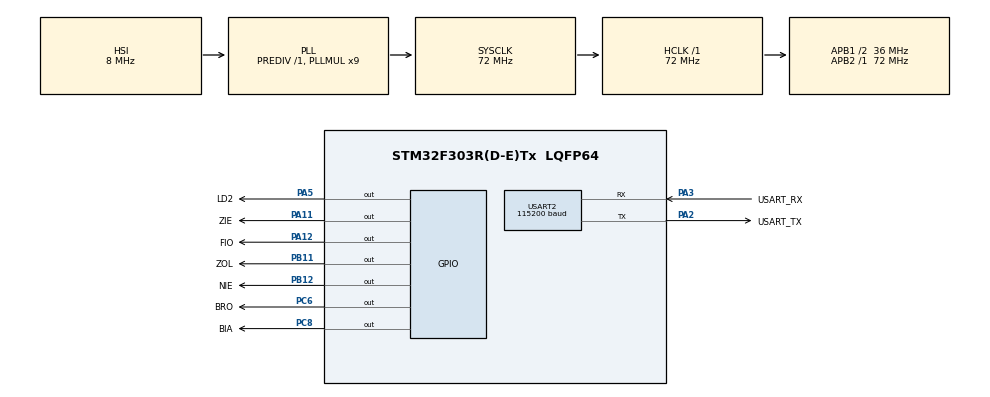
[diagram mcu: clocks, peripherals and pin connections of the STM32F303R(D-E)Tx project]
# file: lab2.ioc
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Mcu.Family=STM32F3
Mcu.Name=STM32F303R(D-E)Tx
Mcu.Package=LQFP64
NVIC.PriorityGroup=NVIC_PRIORITYGROUP_0
NVIC.RTC_WKUP_IRQn=true\:0\:0\:false\:false\:true\:true\:true
NVIC.USART2_IRQn=true\:0\:0\:false\:false\:true\:true\:true
PA11.GPIO_Label=ZIE
PA11.Signal=GPIO_Output
PA12.GPIO_Label=FIO
PA12.Signal=GPIO_Output
PA13.GPIO_Label=TMS
PA13.Mode=Serial_Wire
PA13.Signal=SYS_JTMS-SWDIO
PA14.GPIO_Label=TCK
PA14.Mode=Serial_Wire
PA14.Signal=SYS_JTCK-SWCLK
PA2.GPIO_Label=USART_TX
PA2.GPIO_Mode=GPIO_MODE_AF_PP
PA2.GPIO_PuPd=GPIO_NOPULL
PA2.GPIO_Speed=GPIO_SPEED_FREQ_LOW
PA2.Mode=Asynchronous
PA2.Signal=USART2_TX
PA3.GPIO_Label=USART_RX
PA3.GPIO_Mode=GPIO_MODE_AF_PP
PA3.GPIO_PuPd=GPIO_NOPULL
PA3.GPIO_Speed=GPIO_SPEED_FREQ_LOW
PA3.Mode=Asynchronous
PA3.Signal=USART2_RX
PA5.GPIO_Label=LD2
PA5.GPIO_Mode=GPIO_MODE_OUTPUT_PP
PA5.GPIO_PuPd=GPIO_NOPULL
PA5.GPIO_Speed=GPIO_SPEED_FREQ_LOW
PA5.Signal=GPIO_Output
PB11.GPIO_Label=ZOL
PB11.Signal=GPIO_Output
PB12.GPIO_Label=NIE
PB12.Signal=GPIO_Output
PB3.GPIO_Label=SWO
PB3.Signal=SYS_JTDO-TRACESWO
PC14-OSC32_IN.Mode=LSE-External-Oscillator
PC14-OSC32_IN.Signal=RCC_OSC32_IN
PC15-OSC32_OUT.Mode=LSE-External-Oscillator
PC15-OSC32_OUT.Signal=RCC_OSC32_OUT
PC6.GPIO_Label=BRO
PC6.Signal=GPIO_Output
PC8.GPIO_Label=BIA
PC8.Signal=GPIO_Output
PF0-OSC_IN.Mode=HSE-External-Clock-Source
PF0-OSC_IN.Signal=RCC_OSC_IN
PF1-OSC_OUT.Signal=RCC_OSC_OUT
ProjectManager.HeapSize=0x200
ProjectManager.StackSize=0x400
ProjectManager.TargetToolchain=STM32CubeIDE
RCC.AHBFreq_Value=72000000
RCC.APB1CLKDivider=RCC_HCLK_DIV2
RCC.APB1Freq_Value=36000000
RCC.APB1TimFreq_Value=72000000
RCC.APB2Freq_Value=72000000
RCC.APB2TimFreq_Value=72000000
RCC.CortexFreq_Value=72000000
RCC.HCLKFreq_Value=72000000
RCC.HSE_VALUE=8000000
RCC.HSI_VALUE=8000000
RCC.PLLM=8
RCC.PLLMUL=RCC_PLL_MUL9
RCC.PLLN=336
RCC.PLLP=RCC_PLLP_DIV4
RCC.PLLQ=7
RCC.RCC_PLLsource_Clock_Source_FROM_HSE=RCC_HSE_PREDIV_DIV2
RCC.SYSCLKFreq_VALUE=72000000
RCC.SYSCLKSourceVirtual=RCC_SYSCLKSOURCE_PLLCLK
RCC.USBFreq_Value=72000000
RTC.Date=21
RTC.Format=RTC_FORMAT_BIN
RTC.Hours=18
RTC.Minutes=20
RTC.Month=RTC_MONTH_OCTOBER
RTC.Seconds=10
RTC.WeekDay=RTC_WEEKDAY_THURSDAY
USART2.BaudRate=115200
USART2.VirtualMode-Asynchronous=VM_ASYNC
VP_RTC_VS_RTC_Activate.Mode=RTC_Enabled
VP_RTC_VS_RTC_Calendar.Mode=RTC_Calendar
VP_RTC_VS_RTC_WakeUp_intern.Mode=WakeUp
board=NUCLEO-F303RE

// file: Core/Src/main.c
/* USER CODE BEGIN Header */
/**
  ******************************************************************************
  * @file           : main.c
  * @brief          : Main program body
  ******************************************************************************
  * @attention
  *
  * <h2><center>&copy; Copyright (c) 2021 STMicroelectronics.
  * All rights reserved.</center></h2>
  *
  * This software component is licensed by ST under BSD 3-Clause license,
  * the "License"; You may not use this file except in compliance with the
  * License. You may obtain a copy of the License at:
  *                        opensource.org/licenses/BSD-3-Clause
  *
  ******************************************************************************
  */
/* USER CODE END Header */
#include "main.h"
#include "rtc.h"
#include "usart.h"
#include "gpio.h"

/* USER CODE BEGIN PV */
uint8_t bf_tx[LENTX];
uint16_t emptyTx = 0;
uint16_t busyTx = 0;
/* USER CODE END PV */

void SystemClock_Config(void);

int main(void)
{

  /* MCU Configuration--------------------------------------------------------*/

  /* Reset of all peripherals, Initializes the Flash interface and the Systick. */
  HAL_Init();

  /* Configure the system clock */
  SystemClock_Config();

  /* Initialize all configured peripherals */
  MX_GPIO_Init();
  MX_USART2_UART_Init();
  MX_RTC_Init();
  /* USER CODE BEGIN 2 */

  void HAL_UART_TxCpltCallback(UART_HandleTypeDef *huart)
  {

  }
  void HAL_UART_RxCpltCallback(void)
  {

  }

  uint8_t USART_kbhit(){
	  if(USART_RX_Empty == USART_RX_Busy){
		  return 0;

	  } else {
		  return 1;

	  }
  }

  uint16_t USART_getchar(){
	  uint8_t temp;
	  if(USART_RX_Empty != USART_RX_Busy){
		  temp=USART_RxBuf[USART_RX_Busy];
		  USART_RX_Busy++;

		  if(USART_RX_Busy >= USART_RXBUF_LEN){
			  USART_TX_Busy = 0;
		  }
		  return tmp;

	  }else {
		  return -1;
	  }
  }
  /* USER CODE END 2 */

  /* Infinite loop */
  while (1)
  {

  }
}

void SystemClock_Config(void)
{
  RCC_OscInitTypeDef RCC_OscInitStruct = {0};
  RCC_ClkInitTypeDef RCC_ClkInitStruct = {0};
  RCC_PeriphCLKInitTypeDef PeriphClkInit = {0};

  /** Initializes the RCC Oscillators according to the specified parameters
  * in the RCC_OscInitTypeDef structure.
  */
  RCC_OscInitStruct.OscillatorType = RCC_OSCILLATORTYPE_HSI|RCC_OSCILLATORTYPE_LSI;
  RCC_OscInitStruct.HSIState = RCC_HSI_ON;
  RCC_OscInitStruct.HSICalibrationValue = RCC_HSICALIBRATION_DEFAULT;
  RCC_OscInitStruct.LSIState = RCC_LSI_ON;
  RCC_OscInitStruct.PLL.PLLState = RCC_PLL_ON;
  RCC_OscInitStruct.PLL.PLLSource = RCC_PLLSOURCE_HSI;
  RCC_OscInitStruct.PLL.PLLMUL = RCC_PLL_MUL9;
  RCC_OscInitStruct.PLL.PREDIV = RCC_PREDIV_DIV1;
  if (HAL_RCC_OscConfig(&RCC_OscInitStruct) != HAL_OK)
  {
    Error_Handler();
  }
  /** Initializes the CPU, AHB and APB buses clocks
  */
  RCC_ClkInitStruct.ClockType = RCC_CLOCKTYPE_HCLK|RCC_CLOCKTYPE_SYSCLK
                              |RCC_CLOCKTYPE_PCLK1|RCC_CLOCKTYPE_PCLK2;
  RCC_ClkInitStruct.SYSCLKSource = RCC_SYSCLKSOURCE_PLLCLK;
  RCC_ClkInitStruct.AHBCLKDivider = RCC_SYSCLK_DIV1;
  RCC_ClkInitStruct.APB1CLKDivider = RCC_HCLK_DIV2;
  RCC_ClkInitStruct.APB2CLKDivider = RCC_HCLK_DIV1;

  if (HAL_RCC_ClockConfig(&RCC_ClkInitStruct, FLASH_LATENCY_2) != HAL_OK)
  {
    Error_Handler();
  }
  PeriphClkInit.PeriphClockSelection = RCC_PERIPHCLK_USART2|RCC_PERIPHCLK_RTC;
  PeriphClkInit.Usart2ClockSelection = RCC_USART2CLKSOURCE_PCLK1;
  PeriphClkInit.RTCClockSelection = RCC_RTCCLKSOURCE_LSI;
  if (HAL_RCCEx_PeriphCLKConfig(&PeriphClkInit) != HAL_OK)
  {
    Error_Handler();
  }
}

void Error_Handler(void)
{
  __disable_irq();
  while (1)
  {
  }
}

/************************ (C) COPYRIGHT STMicroelectronics *****END OF FILE****/
